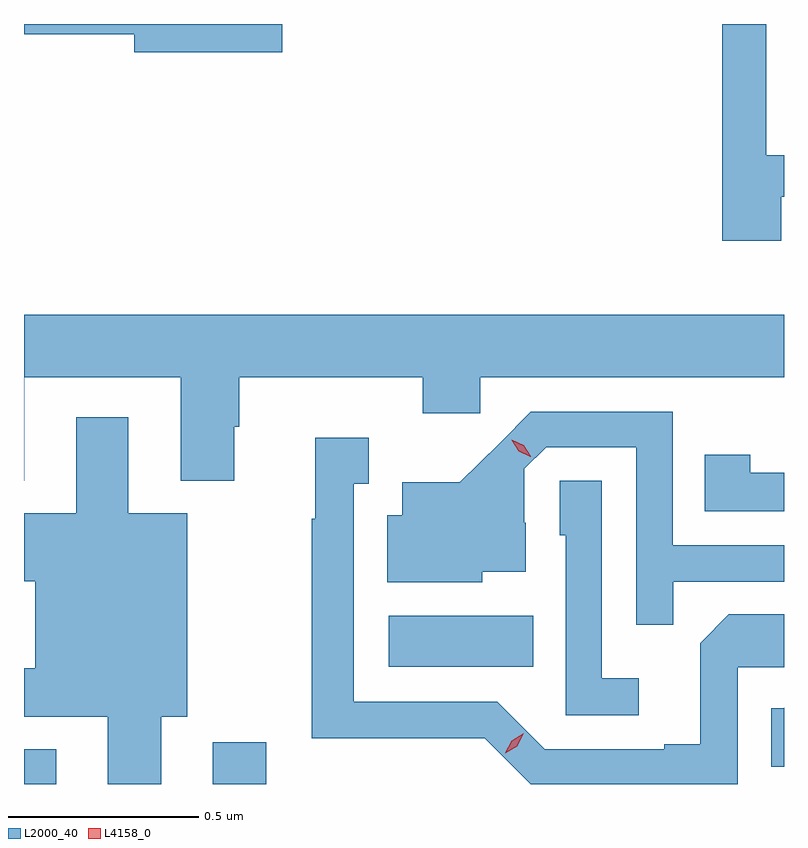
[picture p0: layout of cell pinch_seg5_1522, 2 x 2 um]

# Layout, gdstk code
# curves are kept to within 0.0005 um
import gdstk
lib = gdstk.Library(unit=1e-6, precision=1e-09)
def R(c, l, rs):  # rectangles x0, y0, x1, y1
    for r in rs: c.add(gdstk.rectangle(r[:2], r[2:], *l))
def P(c, l, *ps):  # polygons
    for p in ps: c.add(gdstk.Polygon(p, *l))
L2000_40 = (2000, 40)
L4158_0 = (4158, 0)

pinch_seg5_1522 = lib.new_cell('pinch_seg5_1522')
R(pinch_seg5_1522, L2000_40, [(168.162,886.325,168.247,886.417), (168.659,886.325,168.799,886.435), (169.122,886.634,169.502,886.768)])
P(pinch_seg5_1522, L2000_40, [(170.155,887.871),(170.162,887.871),(170.162,887.979),(170.115,887.979),(170.115,888.325),(169.999,888.325),(169.999,887.754),(170.155,887.754)],
  [(168.841,888.325),(168.162,888.325),(168.162,888.298),(168.452,888.298),(168.452,888.251),(168.841,888.251)],
  [(168.163,887.396),(168.575,887.396),(168.575,887.123),(168.715,887.123),(168.715,887.265),(168.728,887.265),(168.728,887.396),(169.211,887.396),(169.211,887.301),(169.362,887.301),(169.362,887.396),(170.162,887.396),(170.162,887.56),(168.162,887.56),(168.162,887.123),(168.163,887.123)],
  [(169.871,886.857),(170.162,886.857),(170.162,886.953),(169.869,886.953),(169.869,887.304),(169.496,887.304),(169.309,887.119),(169.157,887.119),(169.157,887.032),(169.118,887.032),(169.118,886.856),(169.368,886.856),(169.368,886.883),(169.483,886.883),(169.483,887.012),(169.479,887.012),(169.479,887.154),(169.536,887.211),(169.773,887.211),(169.773,886.744),(169.871,886.744)],
  [(168.523,886.502),(168.592,886.502),(168.592,887.038),(168.436,887.038),(168.436,887.29),(168.299,887.29),(168.299,887.038),(168.162,887.038),(168.162,886.859),(168.191,886.859),(168.191,886.63),(168.162,886.63),(168.162,886.502),(168.383,886.502),(168.383,886.325),(168.523,886.325)],
  [(170.04,886.632),(170.162,886.632),(170.162,886.772),(170.017,886.772),(169.941,886.696),(169.941,886.429),(169.847,886.429),(169.847,886.416),(169.533,886.416),(169.407,886.542),(169.03,886.542),(169.03,887.115),(169.069,887.115),(169.069,887.236),(168.929,887.236),(168.929,887.023),(168.919,887.023),(168.919,886.445),(169.152,886.445),(169.152,886.446),(169.374,886.446),(169.495,886.325),(170.04,886.325)],
  [(170.162,887.144),(170.073,887.144),(170.073,887.191),(169.954,887.191),(169.954,887.043),(170.162,887.043)],
  [(169.78,886.603),(169.683,886.603),(169.683,887.123),(169.572,887.123),(169.572,886.98),(169.587,886.98),(169.587,886.506),(169.78,886.506)],
  [(170.162,886.526),(170.16,886.524),(170.129,886.524),(170.129,886.37),(170.162,886.37)])
P(pinch_seg5_1522, L4158_0, [(169.428,886.406),(169.428,886.407),(169.445,886.439),(169.477,886.458),(169.477,886.458),(169.477,886.458),(169.46,886.425),(169.428,886.406)],
  [(169.494,887.186),(169.464,887.201),(169.446,887.23),(169.446,887.231),(169.446,887.231),(169.477,887.216),(169.495,887.187),(169.495,887.186)])

lib.write_gds('pinch_seg5_1522.gds')
